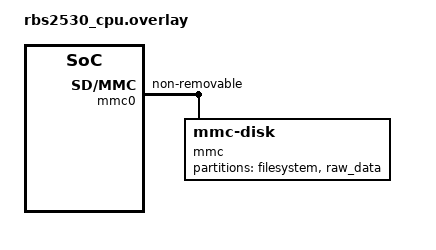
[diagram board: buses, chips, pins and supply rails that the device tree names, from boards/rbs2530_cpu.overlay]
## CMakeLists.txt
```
#
# Copyright (c) 2025 SYSTech Co.
# SPDX-License-Identifier: Apache-2.0
#

cmake_minimum_required(VERSION 3.20.0)
find_package(Zephyr REQUIRED HINTS $ENV{ZEPHYR_BASE})
project(emmc_dual_api)

target_sources(app PRIVATE src/main.c)
```

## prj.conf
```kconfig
# Logging configuration for detailed debug output
CONFIG_LOG=y

# Basic system configuration
CONFIG_MAIN_STACK_SIZE=32768

# Additional system safety configurations
CONFIG_SYSTEM_WORKQUEUE_STACK_SIZE=16384

# Disk access and eMMC configuration
CONFIG_DISK_ACCESS=y
CONFIG_DISK_DRIVER_MMC=y
CONFIG_MMC_STACK=y
CONFIG_MMC_VOLUME_NAME="MMC"

# File system configuration
CONFIG_FILE_SYSTEM=y
CONFIG_FILE_SYSTEM_LITTLEFS=y

# LittleFS backend configuration - use block device mode with partition awareness
CONFIG_FS_LITTLEFS_BLK_DEV=y
CONFIG_FS_LITTLEFS_HEAP_PER_ALLOC_OVERHEAD_SIZE=128

# Memory pool configuration - increase for LittleFS stability
CONFIG_HEAP_MEM_POOL_SIZE=524288

# LittleFS specific configurations for stability
CONFIG_FS_LITTLEFS_CACHE_SIZE=512
CONFIG_FS_LITTLEFS_LOOKAHEAD_SIZE=128
CONFIG_FS_LITTLEFS_BLOCK_CYCLES=512

# Logging configuration
CONFIG_SERIAL=y
CONFIG_LOG_MODE_IMMEDIATE=y
CONFIG_LOG_BACKEND_UART=y
```

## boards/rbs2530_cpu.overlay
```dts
/**
 * Copyright (c) 2024 SYSTech Co.
 * SPDX-License-Identifier: Apache-2.0
 */
#include <mem.h>

&mmc0 {
	status = "okay";
	non-removable;

	mmc {
		compatible = "zephyr,mmc-disk";
		status = "okay";
		bus-width = <4>;
		disk-name = "MMC";

		partitions {
			compatible = "fixed-partitions";
			#address-cells = <1>;
			#size-cells = <1>;

			// LittleFS
			storage_partition: partition@0 {
				label = "filesystem";
				reg = <0x00000000 DT_SIZE_M(1)>; //  1MB offset
			};

			// RAW API
			data_partition: partition@100000 {
				label = "raw_data";
				reg = <0x00100000 DT_SIZE_M(1)>; // 1MB @ 1MB offset
			};
		};
	};
};
```

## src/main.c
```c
/*
 * Copyright (c) 2025 SYSTech Co.
 * SPDX-License-Identifier: Apache-2.0
 */

#include <zephyr/kernel.h>
#include <zephyr/device.h>
#include <zephyr/devicetree.h>
#include <zephyr/logging/log.h>
#include <zephyr/fs/fs.h>
#include <zephyr/fs/littlefs.h>
#include <zephyr/storage/disk_access.h>
#include <string.h>
#include <stdio.h>

LOG_MODULE_REGISTER(emmc_dual_api, LOG_LEVEL_DBG);

/* Test data values */
#define INITIAL_VALUE_A5 0xA5

/* Buffer sizes */
#define SECTOR_SIZE      512
#define TEST_BUFFER_SIZE 4096

/* LittleFS mount point */
#define MOUNT_POINT "/MMC:"

/* Device names */
#define MMC_DEVICE_NAME "MMC"

/* LittleFS configuration */
static struct fs_littlefs lfsfs;

/* Global variables */
static struct fs_mount_t lfs_mount_point = {
	.type = FS_LITTLEFS,
	.fs_data = &lfsfs,
	.storage_dev = (void *)MMC_DEVICE_NAME,
	.mnt_point = MOUNT_POINT,
	.flags = FS_MOUNT_FLAG_USE_DISK_ACCESS,
};

static uint8_t test_buffer[TEST_BUFFER_SIZE];
static uint8_t read_buffer[TEST_BUFFER_SIZE];

struct partition_info {
	uint32_t offset;
	uint32_t size;
};

/**
 * @brief Get partition info
 *
 * @param label Partition label to look up
 * @param info Pointer to partition_info structure to fill
 */
static void get_partition_info(const char *label, struct partition_info *info)
{
	if (strcmp(label, "filesystem") == 0) {
#define LFS_PART_NODE DT_NODELABEL(storage_partition)
		info->offset = DT_REG_ADDR(LFS_PART_NODE);
		info->size = DT_REG_SIZE(LFS_PART_NODE);
	} else if (strcmp(label, "raw_data") == 0) {
#define RAW_PART_NODE DT_NODELABEL(data_partition)
		info->offset = DT_REG_ADDR(RAW_PART_NODE);
		info->size = DT_REG_SIZE(RAW_PART_NODE);
	} else {
		LOG_ERR("Unknown partition label: %s", label);
		info->offset = 0;
		info->size = 0;
	}
}

/**
 * @brief Initialize disk access system
 *
 * @return 0 on success, negative on error
 */
static int disk_access_init_system(void)
{
	int ret;
	uint32_t sector_size, sector_count;

	/* Initialize disk subsystem */
	ret = disk_access_init(MMC_DEVICE_NAME);
	if (ret) {
		LOG_ERR("Failed to initialize disk access for %s: %d", MMC_DEVICE_NAME, ret);
		return ret;
	}

	/* Check if the disk is ready */
	ret = disk_access_ioctl(MMC_DEVICE_NAME, DISK_IOCTL_GET_SECTOR_SIZE, &sector_size);
	if (ret) {
		LOG_ERR("Failed to get sector size: %d", ret);
		return ret;
	}

	ret = disk_access_ioctl(MMC_DEVICE_NAME, DISK_IOCTL_GET_SECTOR_COUNT, &sector_count);
	if (ret) {
		LOG_ERR("Failed to get sector count: %d", ret);
		return ret;
	}

	LOG_INF(" - Sector size: %u bytes, Sector count: %u, Total capacity: %u MB", sector_size,
		sector_count, (sector_count * sector_size) / (1024 * 1024));

	return 0;
}

/**
 * @brief Write data to raw partition using disk API
 *
 * @param value Value to fill the buffer with
 * @return 0 on success, negative on error
 */
static int raw_api_write(uint8_t value)
{
	int ret;
	struct partition_info raw_info;

	get_partition_info("raw_data", &raw_info);

	uint32_t sector_start = raw_info.offset / SECTOR_SIZE;
	uint32_t total_sectors = raw_info.size / SECTOR_SIZE;
	uint32_t sectors_per_write = TEST_BUFFER_SIZE / SECTOR_SIZE;
	uint32_t written_sectors = 0;

	memset(test_buffer, value, TEST_BUFFER_SIZE);

	while (written_sectors < total_sectors) {
		uint32_t write_now = sectors_per_write;

		if (written_sectors + write_now > total_sectors) {
			write_now = total_sectors - written_sectors;
		}
		ret = disk_access_write(MMC_DEVICE_NAME, test_buffer,
					sector_start + written_sectors, write_now);
		if (ret) {
			LOG_ERR("Failed to write to raw partition at sector %u: %d",
				sector_start + written_sectors, ret);
			return ret;
		}
		written_sectors += write_now;
	}
	LOG_INF(" ■ Successfully wrote %u bytes to raw partition", raw_info.size);
	return 0;
}

/**
 * @brief Read data from raw partition using disk API
 *
 * @param expected_value Expected value to compare against
 * @return 0 on success, negative on error
 */
static int raw_api_read_and_verify(uint8_t expected_value)
{
	int ret;
	struct partition_info raw_info;

	get_partition_info("raw_data", &raw_info);

	uint32_t sector_start = raw_info.offset / SECTOR_SIZE;
	uint32_t total_sectors = raw_info.size / SECTOR_SIZE;
	uint32_t sectors_per_read = TEST_BUFFER_SIZE / SECTOR_SIZE;
	uint32_t read_sectors = 0;

	while (read_sectors < total_sectors) {
		uint32_t read_now = sectors_per_read;

		if (read_sectors + read_now > total_sectors) {
			read_now = total_sectors - read_sectors;
		}
		memset(read_buffer, 0, TEST_BUFFER_SIZE);
		ret = disk_access_read(MMC_DEVICE_NAME, read_buffer, sector_start + read_sectors,
				       read_now);
		if (ret) {
			LOG_ERR("Failed to read from raw partition at sector %u: %d",
				sector_start + read_sectors, ret);
			return ret;
		}
		for (int i = 0; i < read_now * SECTOR_SIZE; i++) {
			if (read_buffer[i] != expected_value) {
				LOG_ERR("Data mismatch at offset %u: expected 0x%02X, got 0x%02X",
					read_sectors * SECTOR_SIZE + i, expected_value,
					read_buffer[i]);
				return -EIO;
			}
		}
		read_sectors += read_now;
	}
	LOG_INF(" ■ Raw partition data verification successful - all %u bytes match 0x%02X",
		raw_info.size, expected_value);
	return 0;
}

/**
 * @brief Initialize and mount LittleFS
 *
 * @return 0 on success, negative on error
 */
static int littlefs_init_and_mount(void)
{
	static struct partition_info lfs_info;

	get_partition_info("filesystem", &lfs_info);
	lfsfs.cfg.block_size = SECTOR_SIZE;
	lfsfs.cfg.block_count = lfs_info.size / SECTOR_SIZE;
	LOG_INF("LittleFS block_size=%u, block_count=%u, total=%u bytes", lfsfs.cfg.block_size,
		lfsfs.cfg.block_count, lfsfs.cfg.block_size * lfsfs.cfg.block_count);

	return fs_mount(&lfs_mount_point);
}

/**
 * @brief Create test files in LittleFS
 *
 * @return 0 on success, negative on error
 */
static int littlefs_create_test_files(void)
{
	struct fs_file_t file;
	int ret = 0;

	const size_t big_file_size = 900 * 1024; /* 900KB */
	static char big_data[900 * 1024];

	memset(big_data, 0x5A, sizeof(big_data));

	fs_file_t_init(&file);

	ret = fs_open(&file, MOUNT_POINT "/bigfile.bin", FS_O_CREATE | FS_O_WRITE);
	if (ret) {
		LOG_ERR("Failed to create bigfile.bin: %d", ret);
		return ret;
	}
	ssize_t written = fs_write(&file, big_data, big_file_size);

	if (written != big_file_size) {
		LOG_ERR("Failed to write bigfile.bin: %zd/%zu", written, big_file_size);
		fs_close(&file);
		return -EIO;
	}
	fs_close(&file);
	LOG_INF(" - Created bigfile.bin (%zu bytes)", big_file_size);

	return 0;
}

/**
 * @brief Verify test files in LittleFS
 *
 * @return 0 on success, negative on error
 */
static int littlefs_verify_test_files(void)
{
	struct fs_file_t file;
	struct fs_dirent entry;
	int ret;
	char read_buf[256];

	/* List directory contents */
	LOG_INF(" -> Directory listing of %s:", MOUNT_POINT);

	struct fs_dir_t dir;

	fs_dir_t_init(&dir);

	ret = fs_opendir(&dir, MOUNT_POINT);

	if (ret) {
		LOG_ERR("Failed to open directory %s: %d", MOUNT_POINT, ret);
		return ret;
	}

	while (fs_readdir(&dir, &entry) == 0) {
		if (entry.name[0] == 0) {
			break;
		}
		LOG_INF("  - %s (%s, size: %zu)", entry.name,
			(entry.type == FS_DIR_ENTRY_FILE) ? "file" : "dir", entry.size);
	}
	fs_closedir(&dir);

	const char *bigfile = MOUNT_POINT "/bigfile.bin";

	fs_file_t_init(&file);

	ret = fs_open(&file, bigfile, FS_O_READ);
	if (ret) {
		LOG_ERR("Failed to open file %s: %d", bigfile, ret);
		return ret;
	}
	memset(read_buf, 0, sizeof(read_buf));
	ret = fs_read(&file, read_buf, sizeof(read_buf) - 1);
	if (ret < 0) {
		LOG_ERR("Failed to read file %s: %d", bigfile, ret);
		fs_close(&file);
		return ret;
	}
	fs_close(&file);

	return 0;
}

/**
 * @brief Unmount LittleFS
 *
 * @return 0 on success, negative on error
 */
static int littlefs_unmount(void)
{
	int ret;

	ret = fs_unmount(&lfs_mount_point);
	if (ret) {
		LOG_ERR("Failed to unmount LittleFS: %d", ret);
		return ret;
	}

	return 0;
}

static int littlefs_clean_all(void)
{
	struct fs_dir_t dir;
	struct fs_dirent entry;
	char path[128];
	int ret;

	fs_dir_t_init(&dir);
	ret = fs_opendir(&dir, MOUNT_POINT);
	if (ret) {
		LOG_ERR("fs_opendir failed: %d", ret);
		return ret;
	}

	while (fs_readdir(&dir, &entry) == 0) {
		if (entry.name[0] == 0) {
			break;
		}
		snprintf(path, sizeof(path), "%s/%s", MOUNT_POINT, entry.name);
		if (entry.type == FS_DIR_ENTRY_FILE) {
			ret = fs_unlink(path);
			if (ret) {
				LOG_WRN("Failed to delete file %s: %d", path, ret);
			}
		} else if (entry.type == FS_DIR_ENTRY_DIR) {
			LOG_WRN("Subdir %s not deleted (not implemented)", path);
		}
	}
	fs_closedir(&dir);
	return 0;
}

/**
 * @brief Remount LittleFS and verify data persistence
 *
 * @return 0 on success, negative on error
 */
static int littlefs_remount_and_verify(void)
{
	int ret;

	/* Remount the filesystem */
	ret = fs_mount(&lfs_mount_point);
	if (ret) {
		LOG_ERR("Failed to remount LittleFS: %d", ret);
		return ret;
	}

	/* Verify files still exist and contain correct data */
	ret = littlefs_verify_test_files();
	if (ret) {
		LOG_ERR("File verification failed after remount");
		return ret;
	}

	LOG_INF(" ■ All files verified successfully after remount - data persistence confirmed");
	return 0;
}

/**
 * @brief Main application entry point
 */
int main(void)
{
	int ret;

	LOG_INF("====== eMMC Dual API Partition Isolation Test ======");

	/* ===== STEP 0: Initialize disk access system ===== */
	ret = disk_access_init_system();
	if (ret) {
		LOG_ERR("Step 0 failed: %d", ret);
		return ret;
	}

	/* ===== STEP 1: Write initial data to raw partition ===== */
	ret = raw_api_write(INITIAL_VALUE_A5);
	if (ret) {
		LOG_ERR("Step 1 failed: %d", ret);
		return ret;
	}

	/* ===== STEP 2: Initialize LittleFS and create test files ===== */
	ret = littlefs_init_and_mount();
	if (ret) {
		LOG_ERR("Step 2a failed: %d", ret);
		return ret;
	}

	/* ===== Clear the LittleFS partition ===== */
	ret = littlefs_clean_all();
	if (ret) {
		LOG_ERR("LittleFS clean failed: %d", ret);
		return ret;
	}
	LOG_INF(" ■ LittleFS partition cleaned successfully");

	ret = littlefs_create_test_files();
	if (ret) {
		LOG_ERR("Step 2b failed: %d", ret);
		return ret;
	}

	/* ===== STEP 3: Verify raw partition data integrity ===== */
	ret = raw_api_read_and_verify(INITIAL_VALUE_A5);
	if (ret) {
		LOG_ERR(" PARTITION ISOLATION FAILED: Raw partition data was corrupted by "
			"LittleFS!");
		return ret;
	}

	/* ===== STEP 4: Test remount persistence ===== */
	/* Unmount LittleFS */
	ret = littlefs_unmount();
	if (ret) {
		LOG_ERR("Step 4a failed: %d", ret);
		return ret;
	}
	LOG_INF(" ■ LittleFS successfully unmounted");

	/* Verify raw partition is still intact after unmount */
	ret = raw_api_read_and_verify(INITIAL_VALUE_A5);
	if (ret) {
		LOG_ERR(" Raw partition data corrupted after LittleFS unmount!");
		return ret;
	}

	/* Remount and verify LittleFS data */
	ret = littlefs_remount_and_verify();
	if (ret) {
		LOG_ERR("Step 4b failed: %d", ret);
		return ret;
	}

	/* Final verification of raw partition */
	ret = raw_api_read_and_verify(INITIAL_VALUE_A5);
	if (ret) {
		LOG_ERR(" Raw partition data corrupted after LittleFS remount!");
		return ret;
	}

	/* ===== FINAL SUCCESS MESSAGE ===== */
	LOG_INF("\n====== TEST COMPLETED SUCCESSFULLY ======");
	LOG_INF(" ■ Partition isolation verified");
	LOG_INF(" ■ Raw API partition remains unaffected by LittleFS operations");
	LOG_INF(" ■ LittleFS data persists across mount/unmount cycles");
	LOG_INF(" ■ Both partitions operate independently without interference");

	return 0;
}
```
